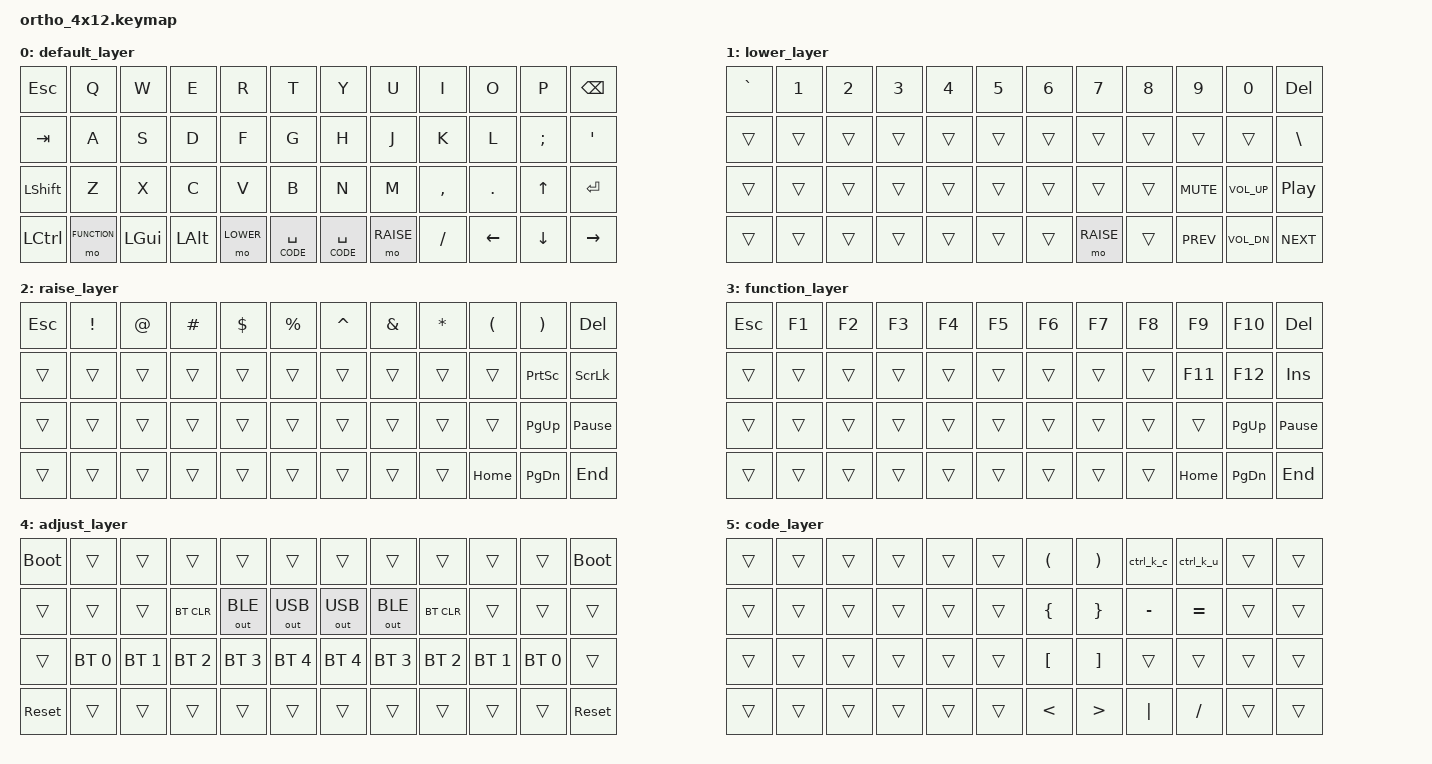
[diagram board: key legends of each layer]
/*
 * Ortho 4x12 Keymap
 * nice!nano v2 | ZMK Firmware | row2col wiring
 *
 * ─────────────────────────────────────────────────────────────────────────────
 * Physical layout (48 keys, 4 rows × 12 columns, monoblock):
 *
 *   ┌─────┬─────┬─────┬─────┬─────┬─────┬─────┬─────┬─────┬─────┬─────┬─────┐
 *   │  0  │  1  │  2  │  3  │  4  │  5  │  6  │  7  │  8  │  9  │ 10  │ 11  │  ← Row 3 (top)
 *   ├─────┼─────┼─────┼─────┼─────┼─────┼─────┼─────┼─────┼─────┼─────┼─────┤
 *   │ 12  │ 13  │ 14  │ 15  │ 16  │ 17  │ 18  │ 19  │ 20  │ 21  │ 22  │ 23  │  ← Row 2
 *   ├─────┼─────┼─────┼─────┼─────┼─────┼─────┼─────┼─────┼─────┼─────┼─────┤
 *   │ 24  │ 25  │ 26  │ 27  │ 28  │ 29  │ 30  │ 31  │ 32  │ 33  │[34] │ 35  │  ← Row 1  [34]=UP
 *   ├─────┼─────┼─────┼─────┼─────┼─────┼─────┼─────┼─────┼─────┼─────┼─────┤
 *   │ 36  │ 37  │ 38  │ 39  │ 40  │ 41  │ 42  │ 43  │ 44  │[45] │[46] │[47] │  ← Row 0  [45-47]=L/D/R
 *   └─────┴─────┴─────┴─────┴─────┴─────┴─────┴─────┴─────┴─────┴─────┴─────┘
 * ─────────────────────────────────────────────────────────────────────────────
 */

#include <behaviors.dtsi>
#include <dt-bindings/zmk/keys.h>
#include <dt-bindings/zmk/bt.h>
#include <dt-bindings/zmk/outputs.h>

#define BASE     0
#define LOWER    1
#define RAISE    2
#define FUNCTION 3
#define ADJUST   4
#define CODE     5

/ {
    conditional_layers {
        compatible = "zmk,conditional-layers";
        adjust_layer {
            if-layers = <LOWER RAISE>;
            then-layer = <ADJUST>;
        };
    };

    behaviors {
        copy_cut: copy_cut {
            compatible = "zmk,behavior-tap-dance";
            #binding-cells = <0>;
            tapping-term-ms = <300>;
            bindings = <&kp LC(C)>, <&kp LC(X)>;
        };
    };

    macros {
        ctrl_k_c: ctrl_k_c {
            compatible = "zmk,behavior-macro";
            #binding-cells = <0>;
            wait-ms = <30>;
            tap-ms = <40>;
            bindings
                = <&macro_tap &kp LC(K)>
                , <&macro_tap &kp LC(C)>
                ;
        };
        ctrl_k_u: ctrl_k_u {
            compatible = "zmk,behavior-macro";
            #binding-cells = <0>;
            wait-ms = <30>;
            tap-ms = <40>;
            bindings
                = <&macro_tap &kp LC(K)>
                , <&macro_tap &kp LC(U)>
                ;
        };
    };

    keymap {
        compatible = "zmk,keymap";

        /* ──────────────────────────────────────────────────────────────────
         * Layer 0 — BASE (QWERTY)
         *
         * ┌─────┬─────┬─────┬─────┬─────┬─────┬─────┬─────┬─────┬─────┬─────┬─────┐
         * │ ESC │  Q  │  W  │  E  │  R  │  T  │  Y  │  U  │  I  │  O  │  P  │BSPC │
         * ├─────┼─────┼─────┼─────┼─────┼─────┼─────┼─────┼─────┼─────┼─────┼─────┤
         * │ TAB │  A  │  S  │  D  │  F  │  G  │  H  │  J  │  K  │  L  │  ;  │  '  │
         * ├─────┼─────┼─────┼─────┼─────┼─────┼─────┼─────┼─────┼─────┼─────┼─────┤
         * │LSFT │  Z  │  X  │  C  │  V  │  B  │  N  │  M  │  ,  │  .  │ UP  │ RET │
         * ├─────┼─────┼─────┼─────┼─────┼─────┼─────┼─────┼─────┼─────┼─────┼─────┤
         * │LCTL │ FN  │LGUI │LALT │MO(L)│CSPC │CSPC │MO(R)│  /  │LEFT │DOWN │RGHT │
         * └─────┴─────┴─────┴─────┴─────┴─────┴─────┴─────┴─────┴─────┴─────┴─────┘
         * ──────────────────────────────────────────────────────────────── */
        default_layer {
            bindings = <
/* Row 3 */
&kp ESC    &kp Q        &kp W    &kp E     &kp R     &kp T          &kp Y          &kp U     &kp I     &kp O    &kp P     &kp BSPC
/* Row 2 */
&kp TAB    &kp A        &kp S    &kp D     &kp F     &kp G          &kp H          &kp J     &kp K     &kp L    &kp SEMI  &kp SQT
/* Row 1 */
&kp LSHFT  &kp Z        &kp X    &kp C     &kp V     &kp B          &kp N          &kp M     &kp COMMA &kp DOT  &kp UP    &kp RET
/* Row 0 */
&kp LCTRL  &mo FUNCTION &kp LGUI &kp LALT  &mo LOWER &lt CODE SPACE &lt CODE SPACE &mo RAISE &kp FSLH  &kp LEFT &kp DOWN  &kp RIGHT
            >;
        };

        /* ──────────────────────────────────────────────────────────────────
         * Layer 1 — LOWER (Numbers, media)
         *
         * ┌─────┬─────┬─────┬─────┬─────┬─────┬─────┬─────┬─────┬─────┬─────┬─────┐
         * │  `  │  1  │  2  │  3  │  4  │  5  │  6  │  7  │  8  │  9  │  0  │ DEL │
         * ├─────┼─────┼─────┼─────┼─────┼─────┼─────┼─────┼─────┼─────┼─────┼─────┤
         * │     │     │     │     │     │     │PSCR │     │     │     │     │  \  │
         * ├─────┼─────┼─────┼─────┼─────┼─────┼─────┼─────┼─────┼─────┼─────┼─────┤
         * │     │     │     │     │     │     │     │     │     │MUTE │VOL+ │ PLY │
         * ├─────┼─────┼─────┼─────┼─────┼─────┼─────┼─────┼─────┼─────┼─────┼─────┤
         * │     │     │     │     │▓▓▓▓▓│     │HOME │PGDN │ END │ PRV │VOL- │ NXT │
         * └─────┴─────┴─────┴─────┴─────┴─────┴─────┴─────┴─────┴─────┴─────┴─────┘
         * ──────────────────────────────────────────────────────────────── */
        lower_layer {
            bindings = <
/* Row 3 */
&kp GRAVE  &kp N1  &kp N2  &kp N3  &kp N4  &kp N5  &kp N6   &kp N7    &kp N8  &kp N9      &kp N0       &kp DEL
/* Row 2 */
&trans     &trans  &trans  &trans  &trans  &trans  &trans   &trans    &trans  &trans      &trans       &kp BSLH
/* Row 1 */
&trans     &trans  &trans  &trans  &trans  &trans  &trans   &trans    &trans  &kp C_MUTE  &kp C_VOL_UP &kp C_PP
/* Row 0 */
&trans     &trans  &trans  &trans  &trans  &trans  &trans   &mo RAISE &trans  &kp C_PREV  &kp C_VOL_DN &kp C_NEXT
            >;
        };

        /* ──────────────────────────────────────────────────────────────────
         * Layer 2 — RAISE (Function keys, navigation)
         *
         * ┌─────┬─────┬─────┬─────┬─────┬─────┬─────┬─────┬─────┬─────┬─────┬─────┐
         * │     │  !  │  @  │  #  │  $  │  %  │  ^  │  &  │  *  │  (  │  )  │ DEL │
         * ├─────┼─────┼─────┼─────┼─────┼─────┼─────┼─────┼─────┼─────┼─────┼─────┤
         * │     │     │     │     │     │     │     │     │     │     │PSCR │SLCK │
         * ├─────┼─────┼─────┼─────┼─────┼─────┼─────┼─────┼─────┼─────┼─────┼─────┤
         * │     │     │     │     │     │     │     │     │     │     │PGUP │PAUS │
         * ├─────┼─────┼─────┼─────┼─────┼─────┼─────┼─────┼─────┼─────┼─────┼─────┤
         * │     │     │     │     │     │     │     │▓▓▓▓▓│     │HOME │PGDN │ END │
         * └─────┴─────┴─────┴─────┴─────┴─────┴─────┴─────┴─────┴─────┴─────┴─────┘
         * ──────────────────────────────────────────────────────────────── */
        raise_layer {
            bindings = <
/* Row 3 */
&kp ESC  &kp EXCL  &kp AT_SIGN  &kp HASH  &kp DLLR  &kp PRCNT  &kp CARET  &kp AMPS  &kp STAR  &kp LPAR &kp RPAR   &kp DEL
/* Row 2 */
&trans  &trans  &trans  &trans  &trans  &trans  &trans  &trans  &trans  &trans    &kp PSCRN &kp SLCK
/* Row 1 */
&trans  &trans  &trans  &trans  &trans  &trans  &trans  &trans  &trans  &trans    &kp PG_UP &kp PAUSE_BREAK
/* Row 0 */
&trans  &trans  &trans  &trans  &trans  &trans  &trans  &trans  &trans  &kp HOME  &kp PG_DN &kp END
            >;
        };

        /* ──────────────────────────────────────────────────────────────────
         * Layer 3 — FUNCTION (held via FN key)
         *
         * ┌─────┬─────┬─────┬─────┬─────┬─────┬─────┬─────┬─────┬─────┬─────┬─────┐
         * │ ESC │ F1  │ F2  │ F3  │ F4  │ F5  │ F6  │ F7  │ F8  │ F9  │ F10 │ DEL │
         * ├─────┼─────┼─────┼─────┼─────┼─────┼─────┼─────┼─────┼─────┼─────┼─────┤
         * │     │     │     │     │     │     │     │     │     │ F11 │ F12 │ INS │
         * ├─────┼─────┼─────┼─────┼─────┼─────┼─────┼─────┼─────┼─────┼─────┼─────┤
         * │     │     │     │     │     │     │     │     │     │     │PGUP │PAUS │
         * ├─────┼─────┼─────┼─────┼─────┼─────┼─────┼─────┼─────┼─────┼─────┼─────┤
         * │     │▓▓▓▓▓│     │     │     │     │     │     │     │HOME │PGDN │ END │
         * └─────┴─────┴─────┴─────┴─────┴─────┴─────┴─────┴─────┴─────┴─────┴─────┘
         * ──────────────────────────────────────────────────────────────── */
        function_layer {
            bindings = <
/* Row 3 */
&kp ESC  &kp F1  &kp F2  &kp F3  &kp F4  &kp F5  &kp F6  &kp F7  &kp F8  &kp F9    &kp F10   &kp DEL
/* Row 2 */
&trans   &trans  &trans  &trans  &trans  &trans  &trans  &trans  &trans  &kp F11   &kp F12   &kp INS
/* Row 1 */
&trans   &trans  &trans  &trans  &trans  &trans  &trans  &trans  &trans  &trans    &kp PG_UP &kp PAUSE_BREAK
/* Row 0 */
&trans   &trans  &trans  &trans  &trans  &trans  &trans  &trans  &trans  &kp HOME  &kp PG_DN &kp END
            >;
        };

        /* ──────────────────────────────────────────────────────────────────
         * Layer 4 — ADJUST (Bluetooth / firmware)
         * Reached by: hold LOWER + RAISE simultaneously
         *
         * ┌──────┬──────┬──────┬──────┬──────┬──────┬──────┬──────┬──────┬──────┬──────┬──────┐
         * │ BOOT │      │      │      │      │      │      │      │      │      │      │ BOOT │
         * ├──────┼──────┼──────┼──────┼──────┼──────┼──────┼──────┼──────┼──────┼──────┼──────┤
         * │      │      │      │BTCLR │O_BLE │O_USB │O_USB │O_BLE │BTCLR │      │      │      │
         * ├──────┼──────┼──────┼──────┼──────┼──────┼──────┼──────┼──────┼──────┼──────┼──────┤
         * │      │BT_0  │BT_1  │BT_2  │BT_3  │BT_4  │BT_4  │BT_3  │BT_2  │BT_1  │BT_0  │      │
         * ├──────┼──────┼──────┼──────┼──────┼──────┼──────┼──────┼──────┼──────┼──────┼──────┤
         * │ RST  │      │      │      │▓▓▓▓▓▓│      │      │▓▓▓▓▓▓│      │      │      │ RST  │
         * └──────┴──────┴──────┴──────┴──────┴──────┴──────┴──────┴──────┴──────┴──────┴──────┘
         * ──────────────────────────────────────────────────────────────── */
        adjust_layer {
            bindings = <
/* Row 3 */
&bootloader &trans        &trans        &trans        &trans        &trans         &trans        &trans        &trans        &trans        &trans        &bootloader
/* Row 2 */
&trans      &trans        &trans        &bt BT_CLR    &out OUT_BLE  &out OUT_USB   &out OUT_USB  &out OUT_BLE  &bt BT_CLR    &trans        &trans        &trans
/* Row 1 */
&trans      &bt BT_SEL 0  &bt BT_SEL 1  &bt BT_SEL 2  &bt BT_SEL 3  &bt BT_SEL 4  &bt BT_SEL 4  &bt BT_SEL 3  &bt BT_SEL 2  &bt BT_SEL 1  &bt BT_SEL 0  &trans
/* Row 0 */
&sys_reset  &trans        &trans        &trans        &trans        &trans         &trans        &trans        &trans        &trans        &trans        &sys_reset
            >;
        };

        /* ──────────────────────────────────────────────────────────────────
         * Layer 5 — CODE (bracket pairs, held via SPACE)
         *
         * ┌─────┬─────┬─────┬─────┬─────┬─────┬─────┬─────┬─────┬─────┬─────┬─────┐
         * │     │     │     │     │     │     │  (  │  )  │CMT  │UCMT │     │     │
         * ├─────┼─────┼─────┼─────┼─────┼─────┼─────┼─────┼─────┼─────┼─────┼─────┤
         * │     │     │     │     │     │     │  {  │  }  │  -  │  =  │     │     │
         * ├─────┼─────┼─────┼─────┼─────┼─────┼─────┼─────┼─────┼─────┼─────┼─────┤
         * │     │     │     │     │     │     │  [  │  ]  │     │     │     │     │
         * ├─────┼─────┼─────┼─────┼─────┼─────┼─────┼─────┼─────┼─────┼─────┼─────┤
         * │     │     │     │     │     │▓▓▓▓▓│  <  │  >  │  |  │  /  │     │     │
         * └─────┴─────┴─────┴─────┴─────┴─────┴─────┴─────┴─────┴─────┴─────┴─────┘
         * ──────────────────────────────────────────────────────────────── */
        code_layer {
            bindings = <
/* Row 3 */
&trans  &trans  &trans  &trans  &trans  &trans  &kp LPAR  &kp RPAR  &ctrl_k_c  &ctrl_k_u  &trans  &trans
/* Row 2 */
&trans  &trans  &trans  &trans  &trans  &trans  &kp LBRC  &kp RBRC  &kp MINUS  &kp EQUAL  &trans  &trans
/* Row 1 */
&trans  &trans  &trans  &trans  &trans  &trans  &kp LBKT  &kp RBKT  &trans     &trans     &trans  &trans
/* Row 0 */
&trans  &trans  &trans  &trans  &trans  &trans  &kp LT    &kp GT    &kp PIPE   &kp FSLH   &trans  &trans
            >;
        };
    };
};
